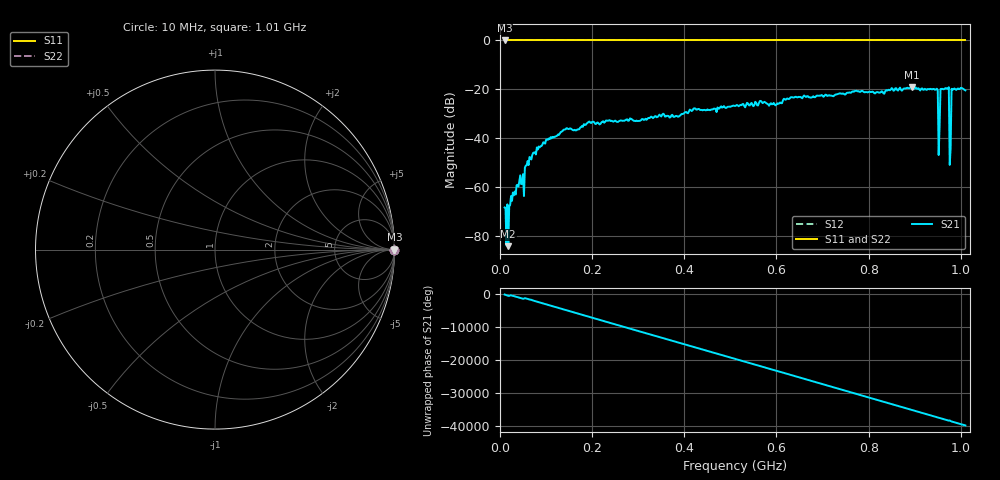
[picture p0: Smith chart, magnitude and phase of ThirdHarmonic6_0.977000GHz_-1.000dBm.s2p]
! 8/16/2025 7:30:59 AM
! C:\ANRITSUVNA\TEMP\TEMP.S2P
! CHANNEL.1
! TR.MEASUREMENT
! RAW.DATA
! RF.CORRECTION.OFF
! AVERAGING.OFF
! IF.BANDWIDTH: 5KHZ
! SWEEPTYPE:  FREQ.SWEEP(Linear)
! Reference Plane Port Info
! PORT:  PORT1  PORT2
! DISTANCE:  0  m  0  m
! TIME:  0  s  0  s
! PHASE.OFFSET:  0  deg.  0  deg.
! LOSS:  0  dB  0  dB
! REF.LOSS:  0  dB  0  dB
! REF.FREQ:  0  Hz  0  Hz
! Power Info
! POWER:  -20  dBm  -20  dBm
! EFF.POWER:  -20  dBm  -20  dBm
! SOURCE.ATTEN:  0  dB  0  dB
! TEST.ATTEN:  0  dB  0  dB
# GHZ S RI R 50.0
! FREQ.GHZ  S11RE  S11IM  S21RE  S21IM  S12RE  S12IM  S22RE  S22IM
!; PortSelection: Port_12
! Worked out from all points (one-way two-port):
!   501 points, 10 MHz to 1.01 GHz, reference 50 ohm
!   highest |S21| = -18.96 dB at 894 MHz (marker M1); lowest = -84.0 dB at 18 MHz (marker M2)
!   lowest |S11| = 0.0 dB at 10 MHz (marker M3)
!   |S11| at or under -10 dB: nowhere
!   |S22| runs from 0.0 to 0.0 dB; largest |S21 - S12| = 1.1
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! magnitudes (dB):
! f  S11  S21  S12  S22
! 10 MHz  0.0  -68.2  0.0  0.0
! 18 MHz  0.0  -84.0  0.0  0.0
! 24 MHz  0.0  -63.5  0.0  0.0
! 40 MHz  0.0  -59.7  0.0  0.0
! 50 MHz  0.0  -54.6  0.0  0.0
! 68 MHz  0.0  -48.6  0.0  0.0
! 104 MHz  0.0  -40.6  0.0  0.0
! 178 MHz  0.0  -34.9  0.0  0.0
! 344 MHz  0.0  -30.8  0.0  0.0
! 510 MHz  0.0  -26.8  0.0  0.0
! 678 MHz  0.0  -23.1  0.0  0.0
! 844 MHz  0.0  -20.1  0.0  0.0
! 894 MHz  0.0  -19.0  0.0  0.0
! 946 MHz  0.0  -20.0  0.0  0.0
! 950 MHz  0.0  -20.2  0.0  0.0
! 956 MHz  0.0  -19.9  0.0  0.0
! 960 MHz  0.0  -19.8  0.0  0.0
! 970 MHz  0.0  -19.7  0.0  0.0
! 974 MHz  0.0  -19.1  0.0  0.0
! 980 MHz  0.0  -19.8  0.0  0.0
! 984 MHz  0.0  -19.9  0.0  0.0
! 1.01 GHz  0.0  -20.4  0.0  0.0
